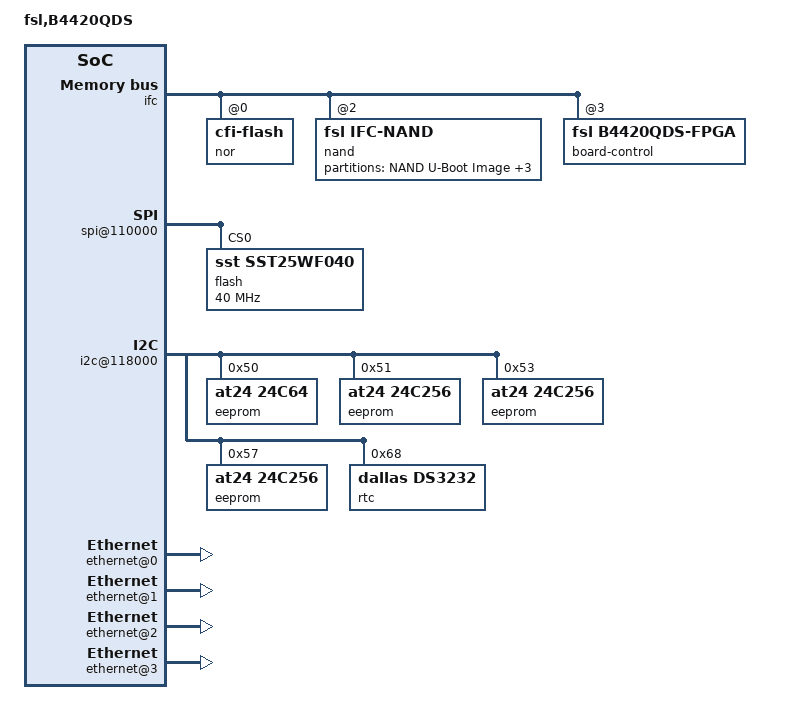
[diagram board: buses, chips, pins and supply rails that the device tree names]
/*
 * B4420DS Device Tree Source
 *
 * Copyright 2012 Freescale Semiconductor, Inc.
 *
 * Redistribution and use in source and binary forms, with or without
 * modification, are permitted provided that the following conditions are met:
 *     * Redistributions of source code must retain the above copyright
 *       notice, this list of conditions and the following disclaimer.
 *     * Redistributions in binary form must reproduce the above copyright
 *       notice, this list of conditions and the following disclaimer in the
 *       documentation and/or other materials provided with the distribution.
 *     * Neither the name of Freescale Semiconductor nor the
 *       names of its contributors may be used to endorse or promote products
 *       derived from this software without specific prior written permission.
 *
 *
 * ALTERNATIVELY, this software may be distributed under the terms of the
 * GNU General Public License ("GPL") as published by the Free Software
 * Foundation, either version 2 of that License or (at your option) any
 * later version.
 *
 * This software is provided by Freescale Semiconductor "as is" and any
 * express or implied warranties, including, but not limited to, the implied
 * warranties of merchantability and fitness for a particular purpose are
 * disclaimed. In no event shall Freescale Semiconductor be liable for any
 * direct, indirect, incidental, special, exemplary, or consequential damages
 * (including, but not limited to, procurement of substitute goods or services;
 * loss of use, data, or profits; or business interruption) however caused and
 * on any theory of liability, whether in contract, strict liability, or tort
 * (including negligence or otherwise) arising in any way out of the use of
 * this software, even if advised of the possibility of such damage.
 */

/include/ "fsl/b4420si-pre.dtsi"

/ {
	model = "fsl,B4420QDS";
	compatible = "fsl,B4420QDS";
	#address-cells = <2>;
	#size-cells = <2>;
	interrupt-parent = <&mpic>;

	aliases{
		ethernet0 = &enet0;
		ethernet1 = &enet1;
		ethernet2 = &enet2;
		ethernet3 = &enet3;
	};

	ifc: localbus@ffe124000 {
		reg = <0xf 0xfe124000 0 0x2000>;
		ranges = <0 0 0xf 0xe8000000 0x08000000
			  2 0 0xf 0xff800000 0x00010000
			  3 0 0xf 0xffdf0000 0x00008000>;

		nor@0,0 {
			#address-cells = <1>;
			#size-cells = <1>;
			compatible = "cfi-flash";
			reg = <0x0 0x0 0x8000000>;
			bank-width = <2>;
			device-width = <1>;
		};

		nand@2,0 {
			#address-cells = <1>;
			#size-cells = <1>;
			compatible = "fsl,ifc-nand";
			reg = <0x2 0x0 0x10000>;

			partition@0 {
				/* This location must not be altered  */
				/* 1MB for u-boot Bootloader Image */
				reg = <0x0 0x00100000>;
				label = "NAND U-Boot Image";
				read-only;
			};

			partition@100000 {
				/* 1MB for DTB Image */
				reg = <0x00100000 0x00100000>;
				label = "NAND DTB Image";
			};

			partition@200000 {
				/* 10MB for Linux Kernel Image */
				reg = <0x00200000 0x00A00000>;
				label = "NAND Linux Kernel Image";
			};

			partition@c00000 {
				/* 500MB for Root file System Image */
				reg = <0x00c00000 0x1F400000>;
				label = "NAND RFS Image";
			};
		};

		board-control@3,0 {
			compatible = "fsl,b4420qds-fpga", "fsl,fpga-qixis";
			reg = <3 0 0x300>;
		};
	};

	memory {
		device_type = "memory";
	};

	bportals: bman-portals@ff4000000 {
		ranges = <0x0 0xf 0xf4000000 0x2000000>;
	};

	qportals: qman-portals@ff6000000 {
		ranges = <0x0 0xf 0xf6000000 0x2000000>;
	};

	soc: soc@ffe000000 {
		ranges = <0x00000000 0xf 0xfe000000 0x1000000>;
		reg = <0xf 0xfe000000 0 0x00001000>;
		spi@110000 {
			flash@0 {
				#address-cells = <1>;
				#size-cells = <1>;
				compatible = "sst,sst25wf040";
				reg = <0>;
				spi-max-frequency = <40000000>; /* input clock */
			};
		};

		sdhc@114000 {
			/*Disabled as there is no sdhc connector on B4420QDS board*/
			status = "disabled";
		};

		i2c@118000 {
			eeprom@50 {
				compatible = "at24,24c64";
				reg = <0x50>;
			};
			eeprom@51 {
				compatible = "at24,24c256";
				reg = <0x51>;
			};
			eeprom@53 {
				compatible = "at24,24c256";
				reg = <0x53>;
			};
			eeprom@57 {
				compatible = "at24,24c256";
				reg = <0x57>;
			};
			rtc@68 {
				compatible = "dallas,ds3232";
				reg = <0x68>;
				interrupts = <0x1 0x1 0 0>;
			};
		};

		usb@210000 {
			dr_mode = "host";
			phy_type = "ulpi";
		};

		fman0: fman@400000 {
			enet0: ethernet@e0000 {
				fixed-link = <1 1 1000 0 0 >;
				phy-connection-type = "sgmii";
			};
			enet1: ethernet@e2000 {
				fixed-link = <2 1 1000 0 0 >;
				phy-connection-type = "sgmii";
			};
			enet2: ethernet@e4000 {
				fixed-link = <3 1 1000 0 0 >;
				phy-connection-type = "sgmii";
			};
			enet3: ethernet@e6000 {
				fixed-link = <4 1 1000 0 0 >;
				phy-connection-type = "sgmii";
			};
		};
	};

	pci0: pcie@ffe200000 {
		reg = <0xf 0xfe200000 0 0x10000>;
		ranges = <0x02000000 0 0xe0000000 0xc 0x00000000 0x0 0x20000000
			  0x01000000 0 0x00000000 0xf 0xf8000000 0x0 0x00010000>;
		pcie@0 {
			ranges = <0x02000000 0 0xe0000000
				  0x02000000 0 0xe0000000
				  0 0x20000000

				  0x01000000 0 0x00000000
				  0x01000000 0 0x00000000
				  0 0x00010000>;
		};
	};

	fsl,dpaa {
		compatible = "fsl,b4420-dpaa", "fsl,dpaa";
		ethernet@0 {
			compatible = "fsl,b4420-dpa-ethernet", "fsl,dpa-ethernet";
			fsl,fman-mac = <&enet0>;
		};
		ethernet@1 {
			compatible = "fsl,b4420-dpa-ethernet", "fsl,dpa-ethernet";
			fsl,fman-mac = <&enet1>;
		};
		ethernet@2 {
			compatible = "fsl,b4420-dpa-ethernet", "fsl,dpa-ethernet";
			fsl,fman-mac = <&enet2>;
		};
		ethernet@3 {
			compatible = "fsl,b4420-dpa-ethernet", "fsl,dpa-ethernet";
			fsl,fman-mac = <&enet3>;
		};
	};
};

/include/ "fsl/b4420si-post.dtsi"
/include/ "fsl/qoriq-dpaa-res3.dtsi"
